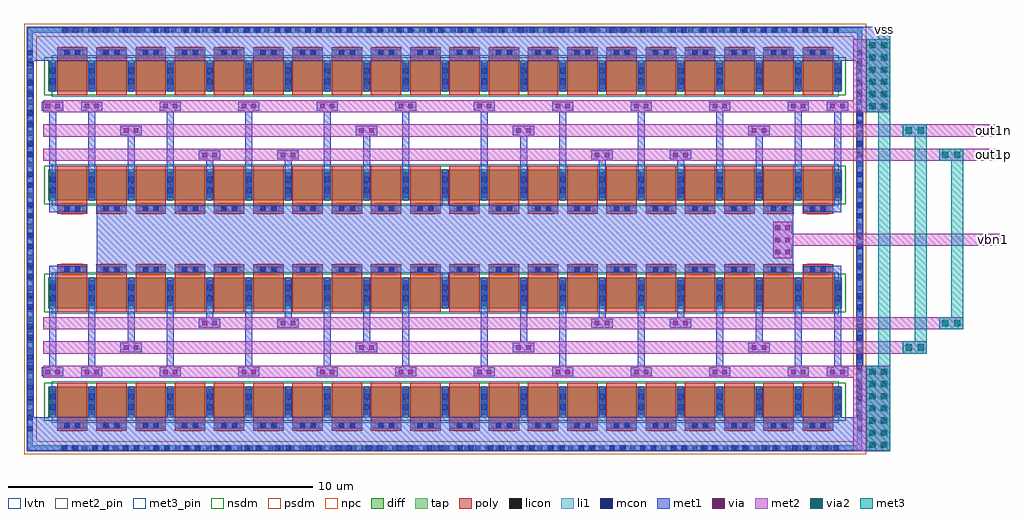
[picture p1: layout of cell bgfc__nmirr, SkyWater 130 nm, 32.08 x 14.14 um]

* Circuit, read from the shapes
.subckt bgfc__nmirr out1n out1p vbn1 vss
XM1 vss vss vss vss sky130_fd_pr__nfet_01v8_lvt w=1 l=1 m=44
XM2 out1n vbn1 vss vss sky130_fd_pr__nfet_01v8_lvt w=1 l=1 m=16
XM3 out1p vbn1 vss vss sky130_fd_pr__nfet_01v8_lvt w=1 l=1 m=16
XM4 vbn1 vbn1 vss vss sky130_fd_pr__nfet_01v8_lvt w=1 l=1 m=4
.ends

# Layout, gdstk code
from math import pi, radians
import gdstk
lib = gdstk.Library(unit=1e-6, precision=1e-09)
def R(c, l, rs):  # rectangles x0, y0, x1, y1
    for r in rs: c.add(gdstk.rectangle(r[:2], r[2:], *l))
def A(c, l, x, y, w, h, nx, ny, dx, dy):  # array of equal rectangles
    R(c, l, [(x+i*dx, y+j*dy, x+i*dx+w, y+j*dy+h) for i in range(nx) for j in range(ny)])
diff = (65, 20)
tap = (65, 44)
poly = (66, 20)
licon = (66, 44)
li1 = (67, 20)
mcon = (67, 44)
met1 = (68, 20)
via = (68, 44)
met2_pin = (69, 16)
met2 = (69, 20)
via2 = (69, 44)
met3_pin = (70, 16)
met3 = (70, 20)
nsdm = (93, 44)
psdm = (94, 20)
npc = (95, 20)
lvtn = (125, 44)

via__li_m1 = lib.new_cell('via__LI_M1')
R(via__li_m1, li1, [(0.03,0.03,0.56,0.2)])
R(via__li_m1, mcon, [(0.03,0.03,0.2,0.2), (0.39,0.03,0.56,0.2)])
R(via__li_m1, met1, [(0,0,0.59,0.23)])

bgfcnm__dum = lib.new_cell('bgfcnm__DUM')
R(bgfcnm__dum, diff, [(-0.79,-0.655,0.79,0.345)])
R(bgfcnm__dum, poly, [(-0.5,-0.785,0.5,0.785)])
A(bgfcnm__dum, licon, -0.73, -0.58, 0.17, 0.17, 1, 3, 0, 0.34)
A(bgfcnm__dum, licon, 0.56, -0.58, 0.17, 0.17, 1, 3, 0, 0.34)
R(bgfcnm__dum, licon, [(-0.255,0.535,-0.085,0.705), (0.085,0.535,0.255,0.705)])
R(bgfcnm__dum, li1, [(-0.73,-0.675,-0.56,0.365), (0.56,-0.675,0.73,0.365), (-0.5,0.535,0.5,0.705)])
R(bgfcnm__dum, mcon, [(-0.73,-0.42,-0.56,-0.25), (0.56,-0.42,0.73,-0.25), (-0.73,-0.06,-0.56,0.11), (0.56,-0.06,0.73,0.11), (-0.265,0.535,-0.095,0.705), (0.095,0.535,0.265,0.705)])
R(bgfcnm__dum, met1, [(-0.76,-0.655,-0.53,0.345), (0.53,-0.655,0.76,0.345), (-0.48,0.505,0.48,0.735)])
R(bgfcnm__dum, nsdm, [(-0.915,-0.78,0.915,0.47)])
R(bgfcnm__dum, npc, [(-0.355,0.435,0.355,0.805)])
R(bgfcnm__dum, lvtn, [(-0.68,-0.835,0.68,0.525)])

via__m1_m2 = lib.new_cell('via__M1_M2')
R(via__m1_m2, met1, [(0,0.05,0.7,0.35)])
R(via__m1_m2, via, [(0.115,0.125,0.265,0.275), (0.435,0.125,0.585,0.275)])
R(via__m1_m2, met2, [(0.05,0,0.65,0.4)])

via__m2_m3 = lib.new_cell('via__M2_M3')
R(via__m2_m3, met2, [(0,0,0.8,0.4)])
R(via__m2_m3, via2, [(0.1,0.1,0.3,0.3), (0.5,0.1,0.7,0.3)])
R(via__m2_m3, met3, [(0,0,0.8,0.4)])

bgfcnm__m4 = lib.new_cell('bgfcnm__M4')
R(bgfcnm__m4, diff, [(-0.79,-0.655,0.79,0.345)])
R(bgfcnm__m4, poly, [(-0.5,-0.785,0.5,0.785)])
A(bgfcnm__m4, licon, -0.73, -0.58, 0.17, 0.17, 1, 3, 0, 0.34)
A(bgfcnm__m4, licon, 0.56, -0.58, 0.17, 0.17, 1, 3, 0, 0.34)
R(bgfcnm__m4, licon, [(-0.255,0.535,-0.085,0.705), (0.085,0.535,0.255,0.705)])
R(bgfcnm__m4, li1, [(-0.73,-0.675,-0.56,0.365), (0.56,-0.675,0.73,0.365), (-0.5,0.535,0.5,0.705)])
R(bgfcnm__m4, mcon, [(-0.73,-0.42,-0.56,-0.25), (0.56,-0.42,0.73,-0.25), (-0.73,-0.06,-0.56,0.11), (0.56,-0.06,0.73,0.11), (-0.265,0.535,-0.095,0.705), (0.095,0.535,0.265,0.705)])
R(bgfcnm__m4, met1, [(-0.76,-0.655,-0.53,0.345), (0.53,-0.655,0.76,0.345), (-0.48,0.505,0.48,0.735)])
R(bgfcnm__m4, nsdm, [(-0.915,-0.78,0.915,0.47)])
R(bgfcnm__m4, npc, [(-0.355,0.435,0.355,0.805)])
R(bgfcnm__m4, lvtn, [(-0.68,-0.835,0.68,0.525)])

bgfcnm__m5 = lib.new_cell('bgfcnm__M5')
R(bgfcnm__m5, diff, [(-0.79,-0.655,0.79,0.345)])
R(bgfcnm__m5, poly, [(-0.5,-0.785,0.5,0.785)])
A(bgfcnm__m5, licon, -0.73, -0.58, 0.17, 0.17, 1, 3, 0, 0.34)
A(bgfcnm__m5, licon, 0.56, -0.58, 0.17, 0.17, 1, 3, 0, 0.34)
R(bgfcnm__m5, licon, [(-0.255,0.535,-0.085,0.705), (0.085,0.535,0.255,0.705)])
R(bgfcnm__m5, li1, [(-0.73,-0.675,-0.56,0.365), (0.56,-0.675,0.73,0.365), (-0.5,0.535,0.5,0.705)])
R(bgfcnm__m5, mcon, [(-0.73,-0.42,-0.56,-0.25), (0.56,-0.42,0.73,-0.25), (-0.73,-0.06,-0.56,0.11), (0.56,-0.06,0.73,0.11), (-0.265,0.535,-0.095,0.705), (0.095,0.535,0.265,0.705)])
R(bgfcnm__m5, met1, [(-0.76,-0.655,-0.53,0.345), (0.53,-0.655,0.76,0.345), (-0.48,0.505,0.48,0.735)])
R(bgfcnm__m5, nsdm, [(-0.915,-0.78,0.915,0.47)])
R(bgfcnm__m5, npc, [(-0.355,0.435,0.355,0.805)])
R(bgfcnm__m5, lvtn, [(-0.68,-0.835,0.68,0.525)])

bgfcnm__mb5 = lib.new_cell('bgfcnm__MB5')
R(bgfcnm__mb5, diff, [(-0.79,-0.655,0.79,0.345)])
R(bgfcnm__mb5, poly, [(-0.5,-0.785,0.5,0.785)])
A(bgfcnm__mb5, licon, -0.73, -0.58, 0.17, 0.17, 1, 3, 0, 0.34)
A(bgfcnm__mb5, licon, 0.56, -0.58, 0.17, 0.17, 1, 3, 0, 0.34)
R(bgfcnm__mb5, licon, [(-0.255,0.535,-0.085,0.705), (0.085,0.535,0.255,0.705)])
R(bgfcnm__mb5, li1, [(-0.73,-0.675,-0.56,0.365), (0.56,-0.675,0.73,0.365), (-0.5,0.535,0.5,0.705)])
R(bgfcnm__mb5, mcon, [(-0.73,-0.42,-0.56,-0.25), (0.56,-0.42,0.73,-0.25), (-0.73,-0.06,-0.56,0.11), (0.56,-0.06,0.73,0.11), (-0.265,0.535,-0.095,0.705), (0.095,0.535,0.265,0.705)])
R(bgfcnm__mb5, met1, [(-0.76,-0.655,-0.53,0.345), (0.53,-0.655,0.76,0.345), (-0.48,0.505,0.48,0.735)])
R(bgfcnm__mb5, nsdm, [(-0.915,-0.78,0.915,0.47)])
R(bgfcnm__mb5, npc, [(-0.355,0.435,0.355,0.805)])
R(bgfcnm__mb5, lvtn, [(-0.68,-0.835,0.68,0.525)])

bgfcnm__guardring_n = lib.new_cell('bgfcnm__Guardring_N')
R(bgfcnm__guardring_n, tap, [(-73.395,13.365,-45.965,13.535), (-73.395,13.535,-73.225,27.085), (-46.135,13.535,-45.965,27.085), (-73.395,27.085,-45.965,27.255)])
A(bgfcnm__guardring_n, licon, -72.395, 13.365, 0.17, 0.17, 75, 1, 0.34, 0)
A(bgfcnm__guardring_n, licon, -73.395, 14.525, 0.17, 0.17, 1, 35, 0, 0.34)
A(bgfcnm__guardring_n, licon, -46.135, 14.525, 0.17, 0.17, 1, 35, 0, 0.34)
A(bgfcnm__guardring_n, licon, -72.605, 27.085, 0.17, 0.17, 75, 1, 0.34, 0)
R(bgfcnm__guardring_n, li1, [(-73.395,13.365,-45.965,13.535), (-73.395,13.535,-73.225,27.085), (-46.135,13.535,-45.965,27.085), (-73.395,27.085,-45.965,27.255)])
R(bgfcnm__guardring_n, psdm, [(-73.52,13.24,-45.84,13.66), (-73.52,13.66,-73.1,26.96), (-46.26,13.66,-45.84,26.96), (-73.52,26.96,-45.84,27.38)])

bgfc__nmirr = lib.new_cell('bgfc__nmirr')
A(bgfc__nmirr, met1, 2.115, 2.555, 0.23, 2.24, 10, 2, 2.58, 6.79)
R(bgfc__nmirr, met1, [(0.095,0.095,28.48,1.215), (0.095,1.215,0.325,12.925), (27.355,1.215,28.48,2.905), (0.825,2.555,1.055,4.795), (26.625,2.555,26.855,4.795), (27.355,2.905,27.585,11.235), (3.405,3.355,3.635,4.795), (11.145,3.355,11.375,4.795), (16.305,3.355,16.535,4.795), (24.045,3.355,24.275,4.795), (5.985,4.155,6.215,4.795), (8.565,4.155,8.795,4.795), (18.885,4.155,19.115,4.795), (21.465,4.155,21.695,4.795), (0.825,5.68,1.055,5.955), (26.625,5.68,26.855,5.955), (13.725,5.795,13.955,5.955), (0.825,5.955,1.22,6.185), (2.395,5.955,25.285,8.185), (26.46,5.955,26.855,6.185), (0.825,7.955,1.22,8.185), (26.46,7.955,26.855,8.185), (0.825,8.185,1.055,8.46), (13.725,8.185,13.955,8.345), (26.625,8.185,26.855,8.46), (0.825,9.345,1.055,11.585), (3.405,9.345,3.635,10.785), (5.985,9.345,6.215,9.985), (8.565,9.345,8.795,9.985), (11.145,9.345,11.375,10.785), (16.305,9.345,16.535,10.785), (18.885,9.345,19.115,9.985), (21.465,9.345,21.695,9.985), (24.045,9.345,24.275,10.785), (26.625,9.345,26.855,11.585), (27.355,11.235,28.48,12.925), (0.095,12.925,28.48,14.045)])
R(bgfc__nmirr, met2_pin, [(31.68,6.84,32.08,7.24), (31.68,9.635,32.08,10.035), (31.68,10.435,32.08,10.835)])
R(bgfc__nmirr, met2, [(27.26,0.095,28.48,2.505), (0.64,2.505,28.48,2.905), (0.64,3.305,29.68,3.705), (0.64,4.105,30.88,4.505), (24.635,6.84,32.08,7.24), (0.64,9.635,32.08,10.035), (0.64,10.435,32.08,10.835), (0.64,11.235,28.48,11.635), (27.26,11.635,28.48,13.64)])
R(bgfc__nmirr, met3_pin, [(28.08,13.845,28.48,14.045)])
R(bgfc__nmirr, met3, [(28.08,2.505,28.48,14.045), (29.28,3.305,29.68,10.835), (30.48,4.105,30.88,10.035)])
bgfc__nmirr.add(gdstk.Reference(via__li_m1, (1.81,0.095), rotation=pi, x_reflection=True))
bgfc__nmirr.add(gdstk.Reference(via__li_m1, (0.325,1.31), rotation=3*pi/2, x_reflection=True))
bgfc__nmirr.add(gdstk.Reference(bgfcnm__dum, (1.585,1.56), rotation=pi))
bgfc__nmirr.add(gdstk.Reference(via__li_m1, (3.81,0.095), rotation=pi, x_reflection=True))
bgfc__nmirr.add(gdstk.Reference(via__li_m1, (2.81,0.095), rotation=pi, x_reflection=True))
bgfc__nmirr.add(gdstk.Reference(bgfcnm__dum, (2.875,1.56), rotation=pi))
bgfc__nmirr.add(gdstk.Reference(bgfcnm__dum, (4.165,1.56), rotation=pi))
bgfc__nmirr.add(gdstk.Reference(via__li_m1, (5.81,0.095), rotation=pi, x_reflection=True))
bgfc__nmirr.add(gdstk.Reference(via__li_m1, (4.81,0.095), rotation=pi, x_reflection=True))
bgfc__nmirr.add(gdstk.Reference(bgfcnm__dum, (5.455,1.56), rotation=pi))
bgfc__nmirr.add(gdstk.Reference(via__li_m1, (7.81,0.095), rotation=pi, x_reflection=True))
bgfc__nmirr.add(gdstk.Reference(via__li_m1, (6.81,0.095), rotation=pi, x_reflection=True))
bgfc__nmirr.add(gdstk.Reference(bgfcnm__dum, (6.745,1.56), rotation=pi))
bgfc__nmirr.add(gdstk.Reference(bgfcnm__dum, (8.035,1.56), rotation=pi))
bgfc__nmirr.add(gdstk.Reference(via__li_m1, (9.81,0.095), rotation=pi, x_reflection=True))
bgfc__nmirr.add(gdstk.Reference(via__li_m1, (8.81,0.095), rotation=pi, x_reflection=True))
bgfc__nmirr.add(gdstk.Reference(bgfcnm__dum, (9.325,1.56), rotation=pi))
bgfc__nmirr.add(gdstk.Reference(via__li_m1, (10.81,0.095), rotation=pi, x_reflection=True))
bgfc__nmirr.add(gdstk.Reference(bgfcnm__dum, (10.615,1.56), rotation=pi))
bgfc__nmirr.add(gdstk.Reference(bgfcnm__dum, (11.905,1.56), rotation=pi))
bgfc__nmirr.add(gdstk.Reference(via__li_m1, (12.81,0.095), rotation=pi, x_reflection=True))
bgfc__nmirr.add(gdstk.Reference(via__li_m1, (11.81,0.095), rotation=pi, x_reflection=True))
bgfc__nmirr.add(gdstk.Reference(bgfcnm__dum, (13.195,1.56), rotation=pi))
bgfc__nmirr.add(gdstk.Reference(via__li_m1, (14.81,0.095), rotation=pi, x_reflection=True))
bgfc__nmirr.add(gdstk.Reference(via__li_m1, (13.81,0.095), rotation=pi, x_reflection=True))
bgfc__nmirr.add(gdstk.Reference(bgfcnm__dum, (14.485,1.56), rotation=pi))
bgfc__nmirr.add(gdstk.Reference(via__li_m1, (15.81,0.095), rotation=pi, x_reflection=True))
bgfc__nmirr.add(gdstk.Reference(via__li_m1, (16.81,0.095), rotation=pi, x_reflection=True))
bgfc__nmirr.add(gdstk.Reference(bgfcnm__dum, (17.065,1.56), rotation=pi))
bgfc__nmirr.add(gdstk.Reference(bgfcnm__dum, (15.775,1.56), rotation=pi))
bgfc__nmirr.add(gdstk.Reference(via__li_m1, (18.81,0.095), rotation=pi, x_reflection=True))
bgfc__nmirr.add(gdstk.Reference(via__li_m1, (17.81,0.095), rotation=pi, x_reflection=True))
bgfc__nmirr.add(gdstk.Reference(bgfcnm__dum, (18.355,1.56), rotation=pi))
bgfc__nmirr.add(gdstk.Reference(via__li_m1, (20.81,0.095), rotation=pi, x_reflection=True))
bgfc__nmirr.add(gdstk.Reference(via__li_m1, (19.81,0.095), rotation=pi, x_reflection=True))
bgfc__nmirr.add(gdstk.Reference(bgfcnm__dum, (20.935,1.56), rotation=pi))
bgfc__nmirr.add(gdstk.Reference(bgfcnm__dum, (19.645,1.56), rotation=pi))
bgfc__nmirr.add(gdstk.Reference(via__li_m1, (21.81,0.095), rotation=pi, x_reflection=True))
bgfc__nmirr.add(gdstk.Reference(bgfcnm__dum, (22.225,1.56), rotation=pi))
bgfc__nmirr.add(gdstk.Reference(via__li_m1, (23.81,0.095), rotation=pi, x_reflection=True))
bgfc__nmirr.add(gdstk.Reference(via__li_m1, (22.81,0.095), rotation=pi, x_reflection=True))
bgfc__nmirr.add(gdstk.Reference(bgfcnm__dum, (23.515,1.56), rotation=pi))
bgfc__nmirr.add(gdstk.Reference(bgfcnm__dum, (24.805,1.56), rotation=pi))
bgfc__nmirr.add(gdstk.Reference(via__li_m1, (25.81,0.095), rotation=pi, x_reflection=True))
bgfc__nmirr.add(gdstk.Reference(via__li_m1, (24.81,0.095), rotation=pi, x_reflection=True))
bgfc__nmirr.add(gdstk.Reference(bgfcnm__dum, (26.095,1.56), rotation=pi))
bgfc__nmirr.add(gdstk.Reference(via__li_m1, (26.81,0.095), rotation=pi, x_reflection=True))
bgfc__nmirr.add(gdstk.Reference(via__li_m1, (27.585,1.31), rotation=3*pi/2, x_reflection=True))
bgfc__nmirr.add(gdstk.Reference(via__m1_m2, (27.73,0.105)))
bgfc__nmirr.add(gdstk.Reference(via__m2_m3, (28.48,0.505), rotation=pi))
bgfc__nmirr.add(gdstk.Reference(via__m1_m2, (27.73,0.505)))
bgfc__nmirr.add(gdstk.Reference(via__m2_m3, (28.48,0.905), rotation=pi))
bgfc__nmirr.add(gdstk.Reference(via__m1_m2, (27.73,0.905)))
bgfc__nmirr.add(gdstk.Reference(via__m2_m3, (28.48,1.305), rotation=pi))
bgfc__nmirr.add(gdstk.Reference(via__m1_m2, (27.73,1.305)))
bgfc__nmirr.add(gdstk.Reference(via__m2_m3, (28.48,1.705), rotation=pi))
bgfc__nmirr.add(gdstk.Reference(via__li_m1, (0.325,2.31), rotation=3*pi/2, x_reflection=True))
bgfc__nmirr.add(gdstk.Reference(via__li_m1, (0.325,3.31), rotation=3*pi/2, x_reflection=True))
bgfc__nmirr.add(gdstk.Reference(via__m1_m2, (0.59,2.505)))
bgfc__nmirr.add(gdstk.Reference(via__m1_m2, (1.88,2.505)))
bgfc__nmirr.add(gdstk.Reference(via__m1_m2, (4.46,2.505)))
bgfc__nmirr.add(gdstk.Reference(via__m1_m2, (7.04,2.505)))
bgfc__nmirr.add(gdstk.Reference(via__m1_m2, (9.62,2.505)))
bgfc__nmirr.add(gdstk.Reference(via__m1_m2, (12.2,2.505)))
bgfc__nmirr.add(gdstk.Reference(via__m1_m2, (14.78,2.505)))
bgfc__nmirr.add(gdstk.Reference(via__m1_m2, (17.36,2.505)))
bgfc__nmirr.add(gdstk.Reference(via__m1_m2, (19.94,2.505)))
bgfc__nmirr.add(gdstk.Reference(via__m1_m2, (22.52,2.505)))
bgfc__nmirr.add(gdstk.Reference(via__m1_m2, (25.1,2.505)))
bgfc__nmirr.add(gdstk.Reference(via__li_m1, (27.585,2.31), rotation=3*pi/2, x_reflection=True))
bgfc__nmirr.add(gdstk.Reference(via__li_m1, (27.585,3.31), rotation=3*pi/2, x_reflection=True))
bgfc__nmirr.add(gdstk.Reference(via__m1_m2, (26.39,2.505)))
bgfc__nmirr.add(gdstk.Reference(via__m1_m2, (27.73,1.705)))
bgfc__nmirr.add(gdstk.Reference(via__m1_m2, (27.73,2.105)))
bgfc__nmirr.add(gdstk.Reference(via__m1_m2, (27.73,2.505)))
bgfc__nmirr.add(gdstk.Reference(via__m2_m3, (28.48,2.105), rotation=pi))
bgfc__nmirr.add(gdstk.Reference(via__m2_m3, (28.48,2.505), rotation=pi))
bgfc__nmirr.add(gdstk.Reference(via__m2_m3, (28.48,2.905), rotation=pi))
bgfc__nmirr.add(gdstk.Reference(via__li_m1, (0.325,4.31), rotation=3*pi/2, x_reflection=True))
bgfc__nmirr.add(gdstk.Reference(via__li_m1, (0.325,5.31), rotation=3*pi/2, x_reflection=True))
bgfc__nmirr.add(gdstk.Reference(bgfcnm__dum, (1.585,5.45), rotation=pi, x_reflection=True))
bgfc__nmirr.add(gdstk.Reference(via__m1_m2, (3.17,3.305)))
bgfc__nmirr.add(gdstk.Reference(bgfcnm__m4, (2.875,5.45), rotation=pi, x_reflection=True))
bgfc__nmirr.add(gdstk.Reference(bgfcnm__m4, (4.165,5.45), rotation=pi, x_reflection=True))
bgfc__nmirr.add(gdstk.Reference(bgfcnm__m5, (5.455,5.45), rotation=pi, x_reflection=True))
bgfc__nmirr.add(gdstk.Reference(via__m1_m2, (5.75,4.105)))
bgfc__nmirr.add(gdstk.Reference(bgfcnm__m5, (6.745,5.45), rotation=pi, x_reflection=True))
bgfc__nmirr.add(gdstk.Reference(bgfcnm__m5, (8.035,5.45), rotation=pi, x_reflection=True))
bgfc__nmirr.add(gdstk.Reference(via__m1_m2, (8.33,4.105)))
bgfc__nmirr.add(gdstk.Reference(bgfcnm__m5, (9.325,5.45), rotation=pi, x_reflection=True))
bgfc__nmirr.add(gdstk.Reference(via__m1_m2, (10.91,3.305)))
bgfc__nmirr.add(gdstk.Reference(bgfcnm__m4, (10.615,5.45), rotation=pi, x_reflection=True))
bgfc__nmirr.add(gdstk.Reference(bgfcnm__m4, (11.905,5.45), rotation=pi, x_reflection=True))
bgfc__nmirr.add(gdstk.Reference(bgfcnm__mb5, (13.195,5.45), rotation=pi, x_reflection=True))
bgfc__nmirr.add(gdstk.Reference(bgfcnm__mb5, (14.485,5.45), rotation=pi, x_reflection=True))
bgfc__nmirr.add(gdstk.Reference(bgfcnm__m4, (17.065,5.45), rotation=pi, x_reflection=True))
bgfc__nmirr.add(gdstk.Reference(via__m1_m2, (16.07,3.305)))
bgfc__nmirr.add(gdstk.Reference(bgfcnm__m4, (15.775,5.45), rotation=pi, x_reflection=True))
bgfc__nmirr.add(gdstk.Reference(bgfcnm__m5, (18.355,5.45), rotation=pi, x_reflection=True))
bgfc__nmirr.add(gdstk.Reference(via__m1_m2, (18.65,4.105)))
bgfc__nmirr.add(gdstk.Reference(bgfcnm__m5, (19.645,5.45), rotation=pi, x_reflection=True))
bgfc__nmirr.add(gdstk.Reference(bgfcnm__m5, (20.935,5.45), rotation=pi, x_reflection=True))
bgfc__nmirr.add(gdstk.Reference(bgfcnm__m5, (22.225,5.45), rotation=pi, x_reflection=True))
bgfc__nmirr.add(gdstk.Reference(via__m1_m2, (21.23,4.105)))
bgfc__nmirr.add(gdstk.Reference(bgfcnm__m4, (23.515,5.45), rotation=pi, x_reflection=True))
bgfc__nmirr.add(gdstk.Reference(bgfcnm__m4, (24.805,5.45), rotation=pi, x_reflection=True))
bgfc__nmirr.add(gdstk.Reference(via__m1_m2, (23.81,3.305)))
bgfc__nmirr.add(gdstk.Reference(bgfcnm__dum, (26.095,5.45), rotation=pi, x_reflection=True))
bgfc__nmirr.add(gdstk.Reference(via__li_m1, (27.585,5.31), rotation=3*pi/2, x_reflection=True))
bgfc__nmirr.add(gdstk.Reference(via__li_m1, (27.585,4.31), rotation=3*pi/2, x_reflection=True))
bgfc__nmirr.add(gdstk.Reference(via__m2_m3, (29.68,3.705), rotation=pi))
bgfc__nmirr.add(gdstk.Reference(via__m2_m3, (30.88,4.505), rotation=pi))
bgfc__nmirr.add(gdstk.Reference(via__li_m1, (0.325,6.31), rotation=3*pi/2, x_reflection=True))
bgfc__nmirr.add(gdstk.Reference(via__li_m1, (27.585,6.31), rotation=3*pi/2, x_reflection=True))
bgfc__nmirr.add(gdstk.Reference(via__li_m1, (0.325,7.31), rotation=3*pi/2, x_reflection=True))
bgfc__nmirr.add(gdstk.Reference(via__m1_m2, (24.585,6.84), x_reflection=True))
bgfc__nmirr.add(gdstk.Reference(via__m1_m2, (24.585,7.24), x_reflection=True))
bgfc__nmirr.add(gdstk.Reference(via__li_m1, (27.585,7.31), rotation=3*pi/2, x_reflection=True))
bgfc__nmirr.add(gdstk.Reference(via__li_m1, (0.325,8.31), rotation=3*pi/2, x_reflection=True))
bgfc__nmirr.add(gdstk.Reference(bgfcnm__dum, (1.585,8.69), rotation=pi))
bgfc__nmirr.add(gdstk.Reference(bgfcnm__m4, (2.875,8.69), rotation=pi))
bgfc__nmirr.add(gdstk.Reference(bgfcnm__m4, (4.165,8.69), rotation=pi))
bgfc__nmirr.add(gdstk.Reference(bgfcnm__m5, (5.455,8.69), rotation=pi))
bgfc__nmirr.add(gdstk.Reference(bgfcnm__m5, (6.745,8.69), rotation=pi))
bgfc__nmirr.add(gdstk.Reference(bgfcnm__m5, (8.035,8.69), rotation=pi))
bgfc__nmirr.add(gdstk.Reference(bgfcnm__m5, (9.325,8.69), rotation=pi))
bgfc__nmirr.add(gdstk.Reference(bgfcnm__m4, (10.615,8.69), rotation=pi))
bgfc__nmirr.add(gdstk.Reference(bgfcnm__m4, (11.905,8.69), rotation=pi))
bgfc__nmirr.add(gdstk.Reference(bgfcnm__mb5, (13.195,8.69), rotation=pi))
bgfc__nmirr.add(gdstk.Reference(bgfcnm__mb5, (14.485,8.69), rotation=pi))
bgfc__nmirr.add(gdstk.Reference(bgfcnm__m4, (17.065,8.69), rotation=pi))
bgfc__nmirr.add(gdstk.Reference(bgfcnm__m4, (15.775,8.69), rotation=pi))
bgfc__nmirr.add(gdstk.Reference(bgfcnm__m5, (18.355,8.69), rotation=pi))
bgfc__nmirr.add(gdstk.Reference(bgfcnm__m5, (19.645,8.69), rotation=pi))
bgfc__nmirr.add(gdstk.Reference(bgfcnm__m5, (20.935,8.69), rotation=pi))
bgfc__nmirr.add(gdstk.Reference(bgfcnm__m5, (22.225,8.69), rotation=pi))
bgfc__nmirr.add(gdstk.Reference(bgfcnm__m4, (23.515,8.69), rotation=pi))
bgfc__nmirr.add(gdstk.Reference(bgfcnm__m4, (24.805,8.69), rotation=pi))
bgfc__nmirr.add(gdstk.Reference(via__m1_m2, (24.585,7.64), x_reflection=True))
bgfc__nmirr.add(gdstk.Reference(bgfcnm__dum, (26.095,8.69), rotation=pi))
bgfc__nmirr.add(gdstk.Reference(via__li_m1, (27.585,8.31), rotation=3*pi/2, x_reflection=True))
bgfc__nmirr.add(gdstk.Reference(via__li_m1, (0.325,9.31), rotation=3*pi/2, x_reflection=True))
bgfc__nmirr.add(gdstk.Reference(via__li_m1, (0.325,10.31), rotation=3*pi/2, x_reflection=True))
bgfc__nmirr.add(gdstk.Reference(via__m1_m2, (5.75,10.035), x_reflection=True))
bgfc__nmirr.add(gdstk.Reference(via__m1_m2, (8.33,10.035), x_reflection=True))
bgfc__nmirr.add(gdstk.Reference(via__m1_m2, (18.65,10.035), x_reflection=True))
bgfc__nmirr.add(gdstk.Reference(via__m1_m2, (21.23,10.035), x_reflection=True))
bgfc__nmirr.add(gdstk.Reference(via__li_m1, (27.585,9.31), rotation=3*pi/2, x_reflection=True))
bgfc__nmirr.add(gdstk.Reference(via__li_m1, (27.585,10.31), rotation=3*pi/2, x_reflection=True))
bgfc__nmirr.add(gdstk.Reference(via__m2_m3, (30.88,10.035), rotation=pi))
bgfc__nmirr.add(gdstk.Reference(via__li_m1, (0.325,11.31), rotation=3*pi/2, x_reflection=True))
bgfc__nmirr.add(gdstk.Reference(via__li_m1, (0.325,12.31), rotation=3*pi/2, x_reflection=True))
bgfc__nmirr.add(gdstk.Reference(via__m1_m2, (0.59,11.635), x_reflection=True))
bgfc__nmirr.add(gdstk.Reference(via__m1_m2, (3.17,10.835), x_reflection=True))
bgfc__nmirr.add(gdstk.Reference(via__m1_m2, (1.88,11.635), x_reflection=True))
bgfc__nmirr.add(gdstk.Reference(via__m1_m2, (4.46,11.635), x_reflection=True))
bgfc__nmirr.add(gdstk.Reference(via__m1_m2, (7.04,11.635), x_reflection=True))
bgfc__nmirr.add(gdstk.Reference(via__m1_m2, (10.91,10.835), x_reflection=True))
bgfc__nmirr.add(gdstk.Reference(via__m1_m2, (9.62,11.635), x_reflection=True))
bgfc__nmirr.add(gdstk.Reference(via__m1_m2, (12.2,11.635), x_reflection=True))
bgfc__nmirr.add(gdstk.Reference(via__m1_m2, (16.07,10.835), x_reflection=True))
bgfc__nmirr.add(gdstk.Reference(via__m1_m2, (14.78,11.635), x_reflection=True))
bgfc__nmirr.add(gdstk.Reference(via__m1_m2, (17.36,11.635), x_reflection=True))
bgfc__nmirr.add(gdstk.Reference(via__m1_m2, (19.94,11.635), x_reflection=True))
bgfc__nmirr.add(gdstk.Reference(via__m1_m2, (23.81,10.835), x_reflection=True))
bgfc__nmirr.add(gdstk.Reference(via__m1_m2, (22.52,11.635), x_reflection=True))
bgfc__nmirr.add(gdstk.Reference(via__m1_m2, (25.1,11.635), x_reflection=True))
bgfc__nmirr.add(gdstk.Reference(via__li_m1, (27.585,11.31), rotation=3*pi/2, x_reflection=True))
bgfc__nmirr.add(gdstk.Reference(via__li_m1, (27.585,12.31), rotation=3*pi/2, x_reflection=True))
bgfc__nmirr.add(gdstk.Reference(via__m1_m2, (26.39,11.635), x_reflection=True))
bgfc__nmirr.add(gdstk.Reference(via__m1_m2, (27.73,12.035), x_reflection=True))
bgfc__nmirr.add(gdstk.Reference(via__m1_m2, (27.73,11.635), x_reflection=True))
bgfc__nmirr.add(gdstk.Reference(via__m2_m3, (28.48,12.035), rotation=pi))
bgfc__nmirr.add(gdstk.Reference(via__m2_m3, (28.48,11.635), rotation=pi))
bgfc__nmirr.add(gdstk.Reference(via__m2_m3, (29.68,10.835), rotation=pi))
bgfc__nmirr.add(gdstk.Reference(via__li_m1, (0.325,13.31), rotation=3*pi/2, x_reflection=True))
bgfc__nmirr.add(gdstk.Reference(bgfcnm__dum, (1.585,12.58), rotation=pi, x_reflection=True))
bgfc__nmirr.add(gdstk.Reference(bgfcnm__dum, (2.875,12.58), rotation=pi, x_reflection=True))
bgfc__nmirr.add(gdstk.Reference(bgfcnm__dum, (4.165,12.58), rotation=pi, x_reflection=True))
bgfc__nmirr.add(gdstk.Reference(bgfcnm__dum, (5.455,12.58), rotation=pi, x_reflection=True))
bgfc__nmirr.add(gdstk.Reference(bgfcnm__dum, (6.745,12.58), rotation=pi, x_reflection=True))
bgfc__nmirr.add(gdstk.Reference(bgfcnm__dum, (8.035,12.58), rotation=pi, x_reflection=True))
bgfc__nmirr.add(gdstk.Reference(bgfcnm__dum, (9.325,12.58), rotation=pi, x_reflection=True))
bgfc__nmirr.add(gdstk.Reference(bgfcnm__dum, (11.905,12.58), rotation=pi, x_reflection=True))
bgfc__nmirr.add(gdstk.Reference(bgfcnm__dum, (10.615,12.58), rotation=pi, x_reflection=True))
bgfc__nmirr.add(gdstk.Reference(bgfcnm__dum, (13.195,12.58), rotation=pi, x_reflection=True))
bgfc__nmirr.add(gdstk.Reference(bgfcnm__dum, (14.485,12.58), rotation=pi, x_reflection=True))
bgfc__nmirr.add(gdstk.Reference(bgfcnm__dum, (17.065,12.58), rotation=pi, x_reflection=True))
bgfc__nmirr.add(gdstk.Reference(bgfcnm__dum, (15.775,12.58), rotation=pi, x_reflection=True))
bgfc__nmirr.add(gdstk.Reference(bgfcnm__dum, (18.355,12.58), rotation=pi, x_reflection=True))
bgfc__nmirr.add(gdstk.Reference(bgfcnm__dum, (20.935,12.58), rotation=pi, x_reflection=True))
bgfc__nmirr.add(gdstk.Reference(bgfcnm__dum, (19.645,12.58), rotation=pi, x_reflection=True))
bgfc__nmirr.add(gdstk.Reference(bgfcnm__dum, (22.225,12.58), rotation=pi, x_reflection=True))
bgfc__nmirr.add(gdstk.Reference(bgfcnm__dum, (23.515,12.58), rotation=pi, x_reflection=True))
bgfc__nmirr.add(gdstk.Reference(bgfcnm__dum, (24.805,12.58), rotation=pi, x_reflection=True))
bgfc__nmirr.add(gdstk.Reference(bgfcnm__dum, (26.095,12.58), rotation=pi, x_reflection=True))
bgfc__nmirr.add(gdstk.Reference(via__li_m1, (27.585,13.31), rotation=3*pi/2, x_reflection=True))
bgfc__nmirr.add(gdstk.Reference(via__m2_m3, (28.48,12.435), rotation=pi))
bgfc__nmirr.add(gdstk.Reference(via__m1_m2, (27.73,12.435), x_reflection=True))
bgfc__nmirr.add(gdstk.Reference(via__m2_m3, (28.48,12.835), rotation=pi))
bgfc__nmirr.add(gdstk.Reference(via__m1_m2, (27.73,12.835), x_reflection=True))
bgfc__nmirr.add(gdstk.Reference(via__m2_m3, (28.48,13.235), rotation=pi))
bgfc__nmirr.add(gdstk.Reference(via__m1_m2, (27.73,13.235), x_reflection=True))
bgfc__nmirr.add(gdstk.Reference(via__m2_m3, (28.48,13.635), rotation=pi))
bgfc__nmirr.add(gdstk.Reference(via__m1_m2, (27.73,13.635), x_reflection=True))
bgfc__nmirr.add(gdstk.Reference(via__m2_m3, (28.48,13.635), rotation=pi))
bgfc__nmirr.add(gdstk.Reference(via__m1_m2, (27.73,13.635), x_reflection=True))
bgfc__nmirr.add(gdstk.Reference(via__li_m1, (1.81,13.815), rotation=pi, x_reflection=True))
bgfc__nmirr.add(gdstk.Reference(via__li_m1, (3.81,13.815), rotation=pi, x_reflection=True))
bgfc__nmirr.add(gdstk.Reference(via__li_m1, (2.81,13.815), rotation=pi, x_reflection=True))
bgfc__nmirr.add(gdstk.Reference(via__li_m1, (5.81,13.815), rotation=pi, x_reflection=True))
bgfc__nmirr.add(gdstk.Reference(via__li_m1, (4.81,13.815), rotation=pi, x_reflection=True))
bgfc__nmirr.add(gdstk.Reference(via__li_m1, (7.81,13.815), rotation=pi, x_reflection=True))
bgfc__nmirr.add(gdstk.Reference(via__li_m1, (6.81,13.815), rotation=pi, x_reflection=True))
bgfc__nmirr.add(gdstk.Reference(via__li_m1, (9.81,13.815), rotation=pi, x_reflection=True))
bgfc__nmirr.add(gdstk.Reference(via__li_m1, (8.81,13.815), rotation=pi, x_reflection=True))
bgfc__nmirr.add(gdstk.Reference(via__li_m1, (10.81,13.815), rotation=pi, x_reflection=True))
bgfc__nmirr.add(gdstk.Reference(via__li_m1, (12.81,13.815), rotation=pi, x_reflection=True))
bgfc__nmirr.add(gdstk.Reference(via__li_m1, (11.81,13.815), rotation=pi, x_reflection=True))
bgfc__nmirr.add(gdstk.Reference(via__li_m1, (14.81,13.815), rotation=pi, x_reflection=True))
bgfc__nmirr.add(gdstk.Reference(via__li_m1, (13.81,13.815), rotation=pi, x_reflection=True))
bgfc__nmirr.add(gdstk.Reference(via__li_m1, (15.81,13.815), rotation=pi, x_reflection=True))
bgfc__nmirr.add(gdstk.Reference(via__li_m1, (16.81,13.815), rotation=pi, x_reflection=True))
bgfc__nmirr.add(gdstk.Reference(via__li_m1, (18.81,13.815), rotation=pi, x_reflection=True))
bgfc__nmirr.add(gdstk.Reference(via__li_m1, (17.81,13.815), rotation=pi, x_reflection=True))
bgfc__nmirr.add(gdstk.Reference(via__li_m1, (20.81,13.815), rotation=pi, x_reflection=True))
bgfc__nmirr.add(gdstk.Reference(via__li_m1, (19.81,13.815), rotation=pi, x_reflection=True))
bgfc__nmirr.add(gdstk.Reference(via__li_m1, (21.81,13.815), rotation=pi, x_reflection=True))
bgfc__nmirr.add(gdstk.Reference(via__li_m1, (23.81,13.815), rotation=pi, x_reflection=True))
bgfc__nmirr.add(gdstk.Reference(via__li_m1, (22.81,13.815), rotation=pi, x_reflection=True))
bgfc__nmirr.add(gdstk.Reference(via__li_m1, (25.81,13.815), rotation=pi, x_reflection=True))
bgfc__nmirr.add(gdstk.Reference(via__li_m1, (24.81,13.815), rotation=pi, x_reflection=True))
bgfc__nmirr.add(gdstk.Reference(via__li_m1, (26.81,13.815), rotation=pi, x_reflection=True))
bgfc__nmirr.add(gdstk.Reference(bgfcnm__guardring_n, (-45.84,-13.24), rotation=pi, x_reflection=True))
bgfc__nmirr.add(gdstk.Label('vbn1', (31.88,7.04), layer=69, texttype=16))
bgfc__nmirr.add(gdstk.Label('out1n', (31.88,10.635), layer=69, texttype=16))
bgfc__nmirr.add(gdstk.Label('out1p', (31.88,9.835), layer=69, texttype=16))
bgfc__nmirr.add(gdstk.Label('vss', (28.28,13.945), layer=70, texttype=16))

lib.write_gds('bgfc__nmirr.gds')
